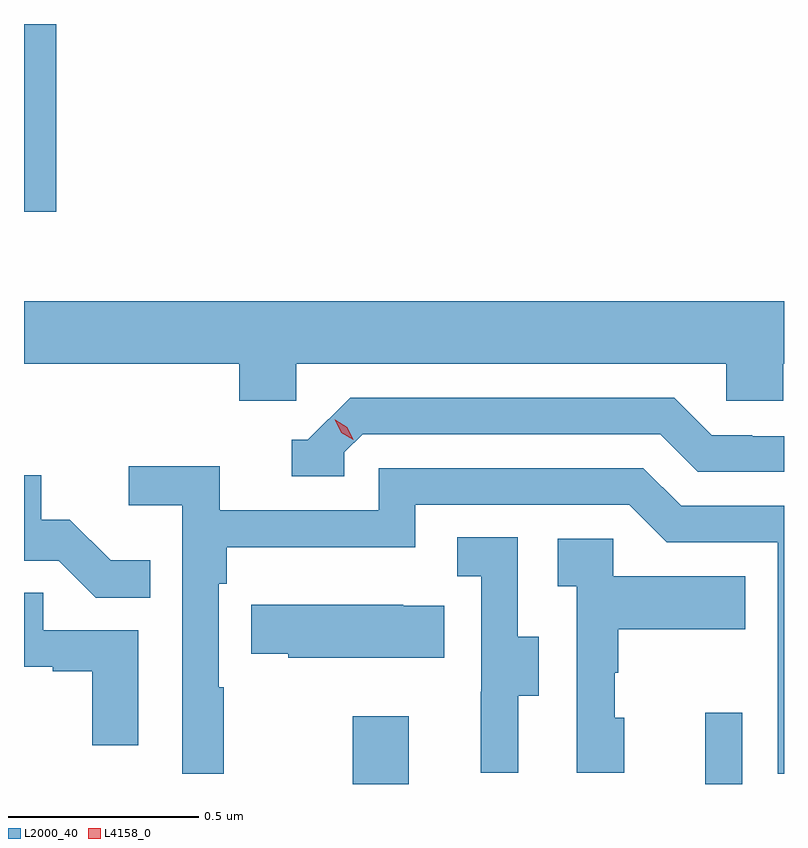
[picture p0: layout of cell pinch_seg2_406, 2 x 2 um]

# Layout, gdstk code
import gdstk
lib = gdstk.Library(unit=1e-6, precision=1e-09)
def R(c, l, rs):  # rectangles x0, y0, x1, y1
    for r in rs: c.add(gdstk.rectangle(r[:2], r[2:], *l))
def P(c, l, *ps):  # polygons
    for p in ps: c.add(gdstk.Polygon(p, *l))
L2000_40 = (2000, 40)
L4158_0 = (4158, 0)

pinch_seg2_406 = lib.new_cell('pinch_seg2_406')
R(pinch_seg2_406, L2000_40, [(971.686,617.226,971.833,617.404), (972.614,617.226,972.711,617.413), (970.821,618.732,970.906,619.226)])
P(pinch_seg2_406, L2000_40, [(971.538,618.332),(972.669,618.332),(972.669,618.234),(972.819,618.234),(972.819,618.332),(972.821,618.332),(972.821,618.496),(970.821,618.496),(970.821,618.332),(971.387,618.332),(971.387,618.234),(971.538,618.234)],
  [(971.664,618.099),(971.712,618.147),(972.495,618.147),(972.594,618.048),(972.821,618.048),(972.821,618.141),(972.738,618.141),(972.738,618.144),(972.631,618.144),(972.532,618.243),(971.679,618.243),(971.568,618.132),(971.525,618.132),(971.525,618.036),(971.664,618.036)],
  [(971.347,617.48),(971.334,617.48),(971.334,617.753),(971.354,617.753),(971.354,617.849),(971.85,617.849),(971.85,617.961),(972.414,617.961),(972.513,617.862),(972.804,617.862),(972.804,617.253),(972.821,617.253),(972.821,617.958),(972.55,617.958),(972.451,618.057),(971.754,618.057),(971.754,617.946),(971.336,617.946),(971.336,618.062),(971.097,618.062),(971.097,617.96),(971.238,617.96),(971.238,617.253),(971.347,617.253)],
  [(971.153,617.815),(971.049,617.815),(970.942,617.922),(970.866,617.922),(970.866,618.039),(970.821,618.039),(970.821,617.814),(970.912,617.814),(971.01,617.716),(971.153,617.716)],
  [(972.121,617.458),(972.175,617.458),(972.175,617.613),(972.12,617.613),(972.12,617.876),(971.961,617.876),(971.961,617.773),(972.024,617.773),(972.024,617.469),(972.023,617.469),(972.023,617.256),(972.121,617.256)],
  [(972.4,617.4),(972.375,617.4),(972.375,617.519),(972.385,617.519),(972.385,617.633),(972.719,617.633),(972.719,617.773),(972.372,617.773),(972.372,617.871),(972.225,617.871),(972.225,617.747),(972.276,617.747),(972.276,617.256),(972.4,617.256)],
  [(971.122,617.631),(970.871,617.631),(970.871,617.729),(970.821,617.729),(970.821,617.535),(970.897,617.535),(970.897,617.523),(971,617.523),(971,617.328),(971.122,617.328)],
  [(971.927,617.695),(971.819,617.695),(971.819,617.698),(971.419,617.698),(971.419,617.569),(971.517,617.569),(971.517,617.558),(971.927,617.558)])
P(pinch_seg2_406, L4158_0, [(971.687,618.132),(971.656,618.151),(971.639,618.184),(971.639,618.184),(971.64,618.184),(971.671,618.165),(971.687,618.132),(971.687,618.132)])

lib.write_gds('pinch_seg2_406.gds')
